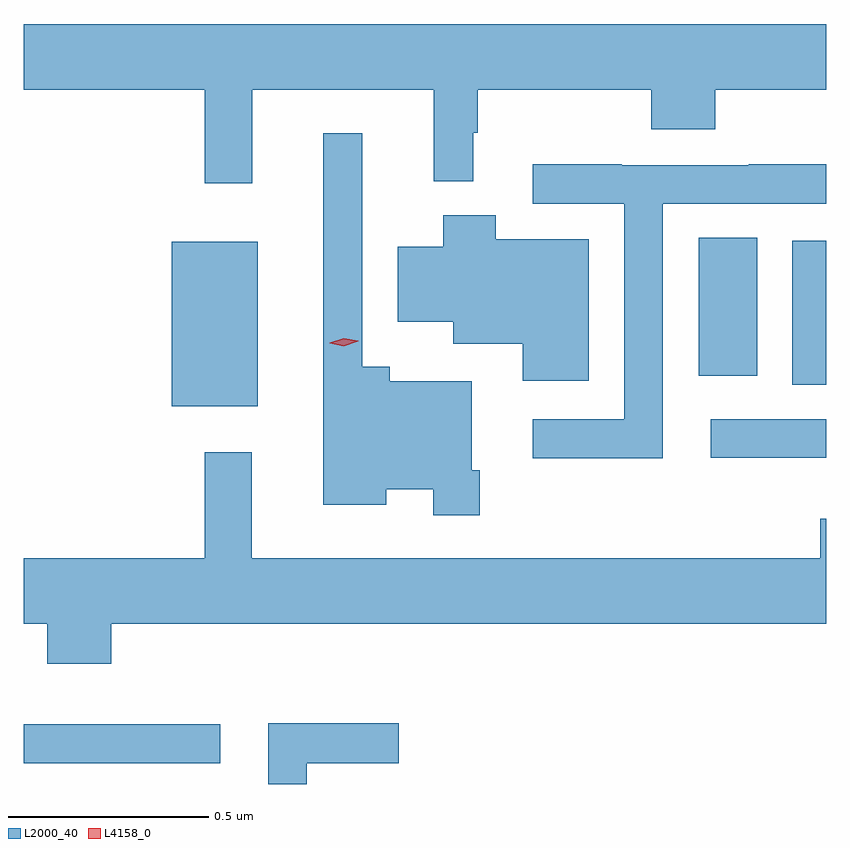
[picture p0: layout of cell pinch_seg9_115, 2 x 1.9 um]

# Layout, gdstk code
import gdstk
lib = gdstk.Library(unit=1e-6, precision=1e-09)
def R(c, l, rs):  # rectangles x0, y0, x1, y1
    for r in rs: c.add(gdstk.rectangle(r[:2], r[2:], *l))
def P(c, l, *ps):  # polygons
    for p in ps: c.add(gdstk.Polygon(p, *l))
L2000_40 = (2000, 40)
L4158_0 = (4158, 0)

pinch_seg9_115 = lib.new_cell('pinch_seg9_115')
R(pinch_seg9_115, L2000_40, [(1047.438,1180.089,1047.928,1180.186), (1049.151,1180.85,1049.438,1180.947), (1047.806,1180.979,1048.021,1181.389), (1049.354,1181.032,1049.438,1181.392), (1049.12,1181.055,1049.266,1181.399)])
P(pinch_seg9_115, L2000_40, [(1048.007,1181.768),(1048.46,1181.768),(1048.46,1181.54),(1048.558,1181.54),(1048.558,1181.661),(1048.57,1181.661),(1048.57,1181.768),(1049.002,1181.768),(1049.002,1181.669),(1049.162,1181.669),(1049.162,1181.768),(1049.438,1181.768),(1049.438,1181.932),(1047.438,1181.932),(1047.438,1181.768),(1047.889,1181.768),(1047.889,1181.535),(1048.007,1181.535)],
  [(1048.574,1180.819),(1048.554,1180.819),(1048.554,1181.041),(1048.35,1181.041),(1048.35,1181.077),(1048.281,1181.077),(1048.281,1181.659),(1048.184,1181.659),(1048.184,1180.733),(1048.342,1180.733),(1048.342,1180.772),(1048.458,1180.772),(1048.458,1180.707),(1048.574,1180.707)],
  [(1049.031,1181.484),(1049.438,1181.484),(1049.438,1181.582),(1049.245,1181.582),(1049.245,1181.58),(1048.928,1181.58),(1048.928,1181.582),(1048.707,1181.582),(1048.707,1181.484),(1048.935,1181.484),(1048.935,1180.947),(1048.707,1180.947),(1048.707,1180.849),(1049.031,1180.849)],
  [(1048.846,1181.395),(1048.614,1181.395),(1048.614,1181.455),(1048.484,1181.455),(1048.484,1181.377),(1048.37,1181.377),(1048.37,1181.189),(1048.508,1181.189),(1048.508,1181.135),(1048.682,1181.135),(1048.682,1181.043),(1048.846,1181.043)],
  [(1047.656,1180.436),(1049.438,1180.436),(1049.438,1180.699),(1049.423,1180.699),(1049.423,1180.6),(1048.006,1180.6),(1048.006,1180.864),(1047.889,1180.864),(1047.889,1180.6),(1047.438,1180.6),(1047.438,1180.436),(1047.496,1180.436),(1047.496,1180.337),(1047.656,1180.337)],
  [(1048.143,1180.089),(1048.372,1180.089),(1048.372,1180.188),(1048.047,1180.188),(1048.047,1180.037),(1048.143,1180.037)])
P(pinch_seg9_115, L4158_0, [(1048.236,1181.129),(1048.2,1181.136),(1048.2,1181.137),(1048.2,1181.137),(1048.235,1181.149),(1048.271,1181.142),(1048.271,1181.141),(1048.271,1181.141)])

lib.write_gds('pinch_seg9_115.gds')
